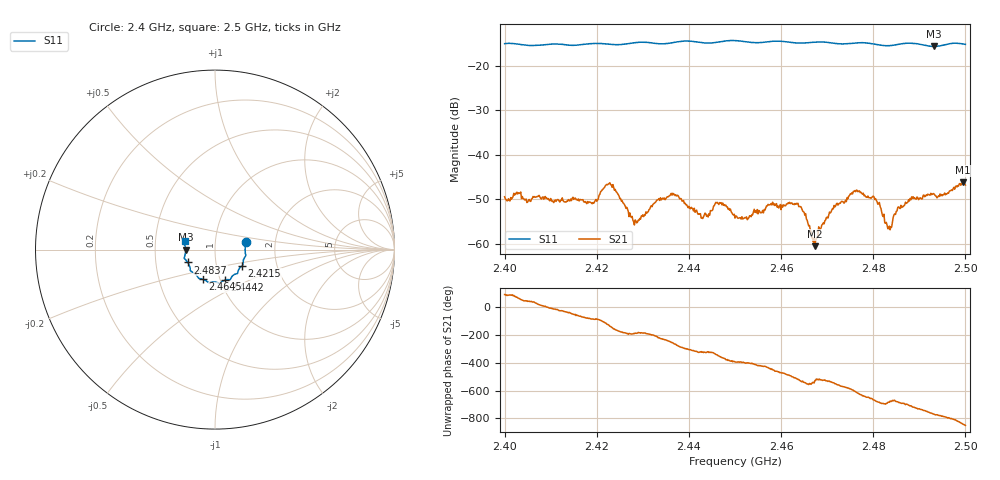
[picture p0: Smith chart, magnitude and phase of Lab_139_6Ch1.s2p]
# Hz S RI R 50
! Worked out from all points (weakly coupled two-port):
!   601 points, 2.4 GHz to 2.5 GHz, reference 50 ohm
!   highest |S21| = -46.21 dB at 2.4995 GHz (marker M1); lowest = -60.5 dB at 2.4673 GHz (marker M2)
!   lowest |S11| = -15.7 dB at 2.4932 GHz (marker M3), VSWR 1.39, Z = 35.9 - j0.0639 ohm
!   |S11| at or under -10 dB: start of sweep to end of sweep
!   S12 and S22 are empty: the file has one direction only
!   S11 on the Smith chart (normalised r, x): 2.4 GHz: 1.41, +0.12; 2.4215 GHz: 1.33, -0.25; 2.4442 GHz: 1.05, -0.37; 2.4645 GHz: 0.83, -0.29; 2.4837 GHz: 0.73, -0.11; 2.5 GHz: 0.71, +0.07
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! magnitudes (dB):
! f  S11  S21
! 2.4 GHz  -15.1  -49.4
! 2.4167 GHz  -15.3  -50.1
! 2.4215 GHz  -15.1  -47.5
! 2.4232 GHz  -15.3  -46.8
! 2.4283 GHz  -14.9  -54.6
! 2.4333 GHz  -15.1  -50.1
! 2.437 GHz  -14.8  -49.2
! 2.4442 GHz  -15.0  -54.0
! 2.4465 GHz  -14.7  -51.2
! 2.45 GHz  -14.4  -54.2
! 2.4645 GHz  -15.0  -52.1
! 2.4667 GHz  -14.8  -58.7
! 2.4673 GHz  -14.7  -60.5
! 2.4717 GHz  -15.0  -51.7
! 2.4762 GHz  -15.0  -48.3
! 2.4803 GHz  -15.2  -50.0
! 2.4833 GHz  -15.6  -56.6
! 2.4837 GHz  -15.5  -56.8
! 2.4882 GHz  -15.0  -50.1
! 2.4932 GHz  -15.7  -48.8
! 2.4995 GHz  -15.2  -46.2
! 2.5 GHz  -15.3  -46.8
